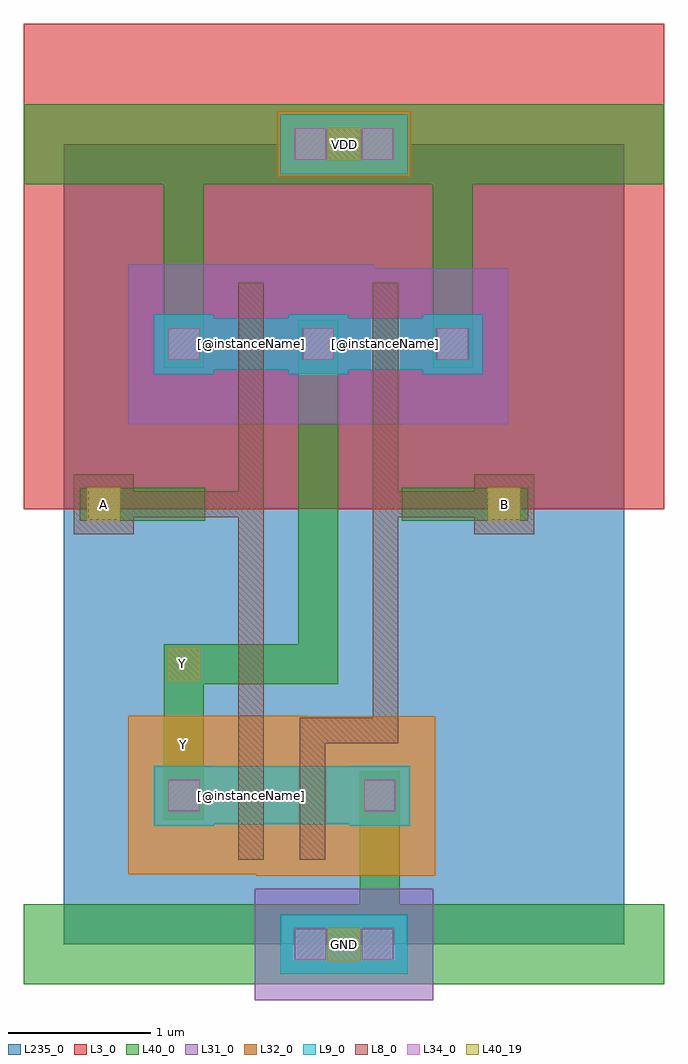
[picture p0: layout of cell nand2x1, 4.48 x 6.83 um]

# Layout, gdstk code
import gdstk
lib = gdstk.Library(unit=1e-6, precision=1e-09)
def R(c, l, rs):  # rectangles x0, y0, x1, y1
    for r in rs: c.add(gdstk.rectangle(r[:2], r[2:], *l))
def A(c, l, x, y, w, h, nx, ny, dx, dy):  # array of equal rectangles
    R(c, l, [(x+i*dx, y+j*dy, x+i*dx+w, y+j*dy+h) for i in range(nx) for j in range(ny)])
L3_0 = (3, 0)
L8_0 = (8, 0)
L9_0 = (9, 0)
L31_0 = (31, 0)
L32_0 = (32, 0)
L34_0 = (34, 0)
L40_0 = (40, 0)
L40_19 = (40, 19)
L235_0 = (235, 0)

m1_po_4x_cdns_7781482141 = lib.new_cell('M1_PO_4X_CDNS_778148214140')
R(m1_po_4x_cdns_7781482141, L8_0, [(-0.21,-0.21,0.21,0.21)])
R(m1_po_4x_cdns_7781482141, L34_0, [(-0.11,-0.11,0.11,0.11)])
R(m1_po_4x_cdns_7781482141, L40_0, [(-0.17,-0.115,0.17,0.115)])

m1_wn_cdns_778148214141 = lib.new_cell('M1_WN_CDNS_778148214141')
R(m1_wn_cdns_778148214141, L3_0, [(-0.625,-0.43,0.625,0.43)])
R(m1_wn_cdns_778148214141, L9_0, [(-0.445,-0.21,0.445,0.21)])
R(m1_wn_cdns_778148214141, L32_0, [(-0.465,-0.23,0.465,0.23)])
R(m1_wn_cdns_778148214141, L34_0, [(-0.345,-0.11,-0.125,0.11), (0.125,-0.11,0.345,0.11)])
R(m1_wn_cdns_778148214141, L40_0, [(-0.405,-0.17,0.405,0.17)])

ptap_lg_cdns_77814821414 = lib.new_cell('PTAP_LG_CDNS_778148214142')
R(ptap_lg_cdns_77814821414, L9_0, [(-0.445,-0.21,0.445,0.21)])
R(ptap_lg_cdns_77814821414, L31_0, [(-0.625,-0.39,0.625,0.39)])
R(ptap_lg_cdns_77814821414, L34_0, [(-0.345,-0.11,-0.125,0.11), (0.125,-0.11,0.345,0.11)])
R(ptap_lg_cdns_77814821414, L40_0, [(-0.405,-0.17,0.405,0.17)])

nand2x1 = lib.new_cell('nand2x1')
R(nand2x1, L3_0, [(-0.28,3.045,4.2,6.44), (0.2,3.56,2.42,4.84), (1.56,3.56,3.36,4.84)])
R(nand2x1, L8_0, [(1.22,0.59,1.4,0.84), (1.65,0.59,1.83,0.84), (1.22,0.84,1.4,1.245), (1.65,0.84,1.83,1.245), (1.22,1.245,1.4,1.495), (1.65,1.245,1.83,1.495), (1.22,3.77,1.4,4.02), (2.16,3.77,2.34,4.02), (1.22,4.02,1.4,4.38), (2.16,4.02,2.34,4.38), (1.22,4.38,1.4,4.63), (2.16,4.38,2.34,4.63)])
A(nand2x1, L9_0, 0.63, 3.99, 0.42, 0.42, 3, 1, 0.94, 0)
R(nand2x1, L9_0, [(0.63,0.83,1.05,1.25), (2,0.83,2.42,1.25), (1.05,0.84,1.22,1.245), (1.22,0.84,1.4,1.245), (1.4,0.84,1.525,1.245), (1.525,0.84,1.65,1.245), (1.65,0.84,1.83,1.245), (1.83,0.84,2,1.245), (1.05,4.02,1.22,4.38), (1.22,4.02,1.4,4.38), (1.4,4.02,1.57,4.38), (1.99,4.02,2.16,4.38), (2.16,4.02,2.34,4.38), (2.34,4.02,2.51,4.38)])
R(nand2x1, L31_0, [(0.45,3.64,2.17,4.76), (1.81,3.64,3.11,4.73)])
R(nand2x1, L32_0, [(1.345,0.48,2.6,1.595), (0.45,0.49,1.705,1.6)])
A(nand2x1, L34_0, 0.73, 4.09, 0.22, 0.22, 3, 1, 0.94, 0)
R(nand2x1, L34_0, [(0.73,0.93,0.95,1.15), (2.1,0.93,2.32,1.15)])
A(nand2x1, L40_0, 0.7, 4.03, 0.28, 0.34, 3, 1, 0.94, 0)
R(nand2x1, L40_0, [(-0.28,-0.28,4.2,0.28), (0.7,0.87,0.98,1.21), (2.07,0.87,2.35,1.21), (-0.28,5.32,4.2,5.88)])
R(nand2x1, L40_19, [(1.845,-0.115,2.075,0.115), (0.725,1.845,0.955,2.075), (0.165,2.965,0.395,3.195), (2.965,2.965,3.195,3.195), (1.845,5.485,2.075,5.715)])
R(nand2x1, L235_0, [(0,0,3.92,5.6)])
nand2x1.add(gdstk.FlexPath([(2.25,3.08),(3.08,3.08)], 0.18, ends=(0.09, 0), simple_path=True, layer=8, datatype=0))  # L8_0
nand2x1.add(gdstk.FlexPath([(1.74,1.495),(2.25,1.495)], 0.18, ends="extended", simple_path=True, layer=8, datatype=0))  # L8_0
nand2x1.add(gdstk.FlexPath([(1.31,3.08),(1.31,3.77)], 0.18, ends=(0.09, 0), simple_path=True, layer=8, datatype=0))  # L8_0
nand2x1.add(gdstk.FlexPath([(1.31,1.495),(1.31,3.08)], 0.18, ends=(0, 0.09), simple_path=True, layer=8, datatype=0))  # L8_0
nand2x1.add(gdstk.FlexPath([(1.31,3.08),(0.28,3.08)], 0.18, ends=(0.09, 0), simple_path=True, layer=8, datatype=0))  # L8_0
nand2x1.add(gdstk.FlexPath([(2.25,1.495),(2.25,3.08)], 0.18, ends="extended", simple_path=True, layer=8, datatype=0))  # L8_0
nand2x1.add(gdstk.FlexPath([(2.25,3.08),(2.25,3.77)], 0.18, ends=(0.09, 0), simple_path=True, layer=8, datatype=0))  # L8_0
nand2x1.add(gdstk.FlexPath([(3.08,3.08),(2.365,3.08)], 0.23, ends="flush", simple_path=True, layer=40, datatype=0))  # L40_0
nand2x1.add(gdstk.FlexPath([(0.84,4.2),(0.84,5.535)], 0.28, ends="flush", simple_path=True, layer=40, datatype=0))  # L40_0
nand2x1.add(gdstk.FlexPath([(2.72,4.2),(2.72,5.535)], 0.28, ends="flush", simple_path=True, layer=40, datatype=0))  # L40_0
nand2x1.add(gdstk.FlexPath([(2.21,0.87),(2.21,-0.28)], 0.28, ends="flush", simple_path=True, layer=40, datatype=0))  # L40_0
nand2x1.add(gdstk.FlexPath([(0.84,1.96),(0.84,1.21)], 0.28, ends=(0.14, 0), simple_path=True, layer=40, datatype=0))  # L40_0
nand2x1.add(gdstk.FlexPath([(1.78,4.03),(1.78,1.96)], 0.28, ends=(0, 0.14), simple_path=True, layer=40, datatype=0))  # L40_0
nand2x1.add(gdstk.FlexPath([(1.78,1.96),(0.84,1.96)], 0.28, ends="extended", simple_path=True, layer=40, datatype=0))  # L40_0
nand2x1.add(gdstk.FlexPath([(0.28,3.08),(0.99,3.08)], 0.23, ends="flush", simple_path=True, layer=40, datatype=0))  # L40_0
nand2x1.add(gdstk.Reference(m1_po_4x_cdns_7781482141, (0.28,3.08)))
nand2x1.add(gdstk.Reference(m1_po_4x_cdns_7781482141, (3.08,3.08)))
nand2x1.add(gdstk.Reference(m1_wn_cdns_778148214141, (1.96,5.6)))
nand2x1.add(gdstk.Reference(ptap_lg_cdns_77814821414, (1.96,0)))
nand2x1.add(gdstk.Label('Y', (0.84,1.4), layer=40, texttype=0))
nand2x1.add(gdstk.Label('GND', (1.96,0), layer=40, texttype=0))
nand2x1.add(gdstk.Label('B', (3.08,3.08), layer=40, texttype=0))
nand2x1.add(gdstk.Label('VDD', (1.96,5.6), layer=40, texttype=0))
nand2x1.add(gdstk.Label('A', (0.28,3.08), layer=40, texttype=0))
nand2x1.add(gdstk.Label('GND', (1.95,-0.005), layer=40, texttype=7))
nand2x1.add(gdstk.Label('VDD', (1.96,5.595), layer=40, texttype=7))
nand2x1.add(gdstk.Label('B', (3.09,3.065), layer=40, texttype=7))
nand2x1.add(gdstk.Label('A', (0.28,3.085), layer=40, texttype=7))
nand2x1.add(gdstk.Label('Y', (0.83,1.965), layer=40, texttype=7))
nand2x1.add(gdstk.Label('[@instanceName]', (1.31,4.202), layer=77, texttype=7))
nand2x1.add(gdstk.Label('[@instanceName]', (2.25,4.202), layer=77, texttype=7))
nand2x1.add(gdstk.Label('[@instanceName]', (1.31,1.044), layer=77, texttype=7))
nand2x1.add(gdstk.Label('[@instanceName]', (1.74,1.044), layer=77, texttype=7))

lib.write_gds('nand2x1.gds')
